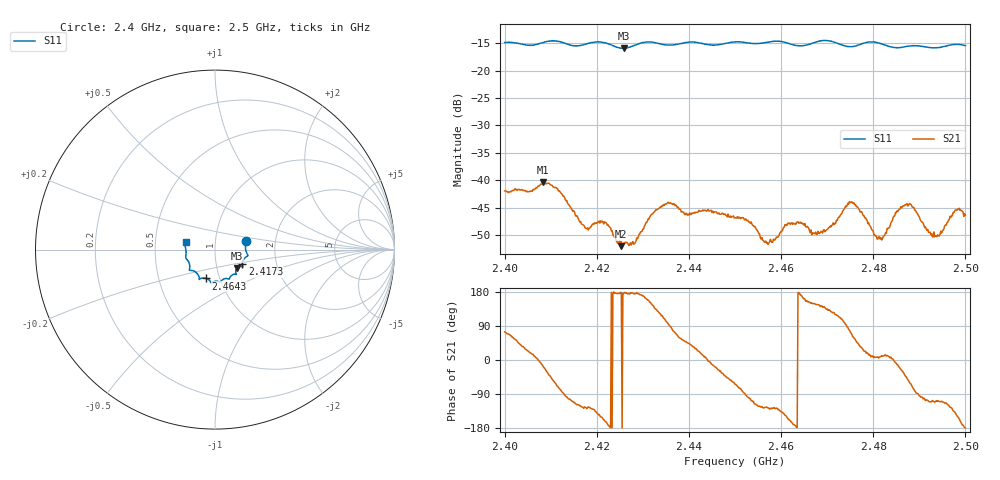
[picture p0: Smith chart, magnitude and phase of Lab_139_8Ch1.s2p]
# Hz S RI R 50
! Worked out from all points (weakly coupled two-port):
!   601 points, 2.4 GHz to 2.5 GHz, reference 50 ohm
!   highest |S21| = -40.37 dB at 2.4083 GHz (marker M1); lowest = -52.1 dB at 2.4252 GHz (marker M2)
!   lowest |S11| = -15.9 dB at 2.4258 GHz (marker M3), VSWR 1.38, Z = 62.3 - j13.2 ohm
!   |S11| at or under -10 dB: start of sweep to end of sweep
!   S12 and S22 are empty: the file has one direction only
!   S11 on the Smith chart (normalised r, x): 2.4 GHz: 1.41, +0.14; 2.4173 GHz: 1.34, -0.23; 2.4643 GHz: 0.86, -0.28; 2.5 GHz: 0.72, +0.06
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2.4e9  0.1735 0.0496  0.00215 0.00767  0 0  0 0
2.408333e9  0.1793 -0.0235  0.00921 -0.00262  0 0  0 0
2.411667e9  0.1815 -0.0355  0.00247 -0.00758  0 0  0 0
2.416667e9  0.1531 -0.0746  -0.0022 -0.00333  0 0  0 0
2.417333e9  0.1524 -0.0821  -0.00211 -0.00315  0 0  0 0
2.421667e9  0.1527 -0.095  -0.00391 -0.00145  0 0  0 0
2.425167e9  0.1261 -0.0989  -0.0025 6.7e-05  0 0  0 0
2.425833e9  0.1215 -0.1036  -0.00266 0.000218  0 0  0 0
2.4285e9  0.1155 -0.1278  -0.00275 0.00024  0 0  0 0
2.433333e9  0.1128 -0.1367  -0.00335 0.0043  0 0  0 0
2.45e9  0.0296 -0.1806  0.00197 -0.00407  0 0  0 0
2.456833e9  -0.0126 -0.1805  -0.0015 -0.00222  0 0  0 0
2.464333e9  -0.0503 -0.1605  -0.004 0.000611  0 0  0 0
2.466667e9  -0.0762 -0.1596  -0.00276 0.00154  0 0  0 0
2.47e9  -0.0875 -0.1664  -0.0025 0.00252  0 0  0 0
2.475333e9  -0.1097 -0.1238  0.00236 0.0059  0 0  0 0
2.480667e9  -0.1427 -0.1112  0.00307 0.000387  0 0  0 0
2.483333e9  -0.1406 -0.0895  0.00361 0.000574  0 0  0 0
2.487667e9  -0.1589 -0.0526  0.00345 -0.00481  0 0  0 0
2.493333e9  -0.161 -0.00968  -0.00111 -0.00283  0 0  0 0
2.498167e9  -0.1707 0.0321  -0.00447 -0.00288  0 0  0 0
2.5e9  -0.1637 0.0418  -0.0048 -6.85e-05  0 0  0 0
